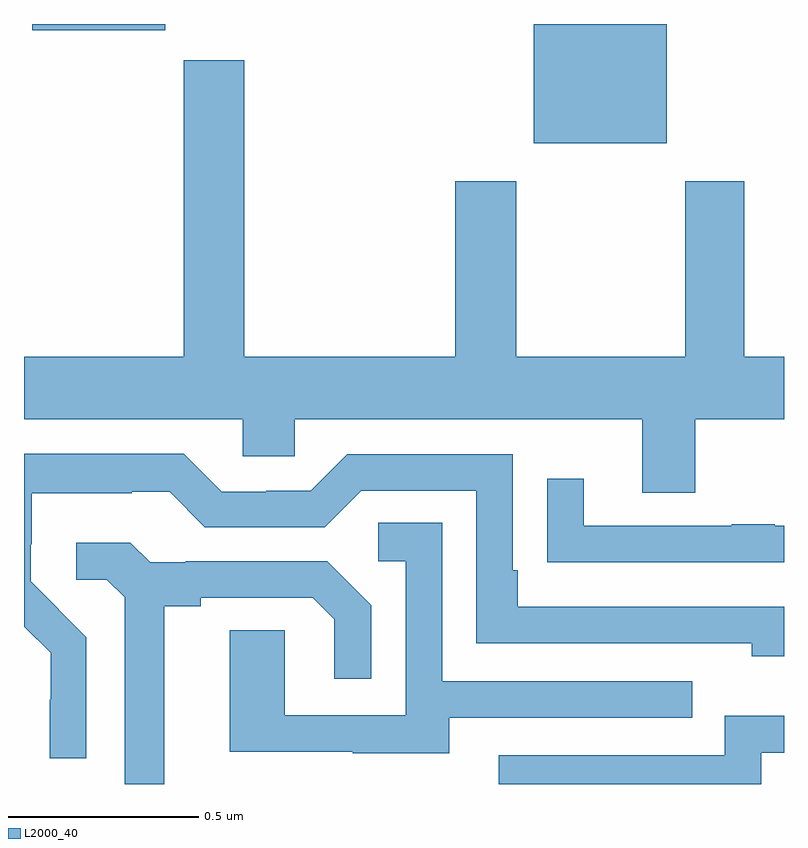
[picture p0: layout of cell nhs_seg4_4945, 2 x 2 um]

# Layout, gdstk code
import gdstk
lib = gdstk.Library(unit=1e-6, precision=1e-09)
def R(c, l, rs):  # rectangles x0, y0, x1, y1
    for r in rs: c.add(gdstk.rectangle(r[:2], r[2:], *l))
def P(c, l, *ps):  # polygons
    for p in ps: c.add(gdstk.Polygon(p, *l))
L2000_40 = (2000, 40)

nhs_seg4_4945 = lib.new_cell('nhs_seg4_4945')
R(nhs_seg4_4945, L2000_40, [(173.342,757.586,173.692,757.9), (172.022,757.883,172.372,757.9)])
P(nhs_seg4_4945, L2000_40, [(173.767,756.86),(174,756.86),(174,757.024),(173.895,757.024),(173.895,757.486),(173.74,757.486),(173.74,757.024),(173.295,757.024),(173.295,757.486),(173.135,757.486),(173.135,757.024),(172.58,757.024),(172.58,757.804),(172.42,757.804),(172.42,757.024),(172,757.024),(172,756.86),(172.575,756.86),(172.575,756.762),(172.713,756.762),(172.713,756.86),(173.627,756.86),(173.627,756.666),(173.767,756.666)],
  [(172.164,756.286),(172.091,756.359),(172.092,756.36),(172.018,756.434),(172.018,756.531),(172.02,756.531),(172.02,756.665),(172.283,756.665),(172.283,756.669),(172.383,756.669),(172.476,756.576),(172.791,756.576),(172.887,756.672),(173.19,756.672),(173.19,756.27),(173.915,756.27),(173.915,756.236),(174,756.236),(174,756.366),(173.299,756.366),(173.299,756.463),(173.286,756.463),(173.286,756.768),(172.851,756.768),(172.755,756.672),(172.637,756.672),(172.637,756.669),(172.521,756.669),(172.421,756.769),(172,756.769),(172,756.314),(172.07,756.245),(172.07,756.122),(172.068,756.122),(172.068,755.968),(172.164,755.968)],
  [(174,756.579),(173.975,756.579),(173.975,756.584),(173.863,756.584),(173.863,756.579),(173.473,756.579),(173.473,756.703),(173.377,756.703),(173.377,756.484),(173.479,756.484),(173.479,756.483),(174,756.483)],
  [(173.119,756.075),(173.759,756.075),(173.759,756.171),(173.1,756.171),(173.1,756.587),(172.932,756.587),(172.932,756.486),(173.004,756.486),(173.004,756.081),(172.686,756.081),(172.686,756.305),(172.541,756.305),(172.541,755.985),(172.865,755.985),(172.865,755.981),(173.119,755.981)],
  [(172.369,756.368),(172.465,756.368),(172.465,756.39),(172.76,756.39),(172.817,756.333),(172.817,756.177),(172.914,756.177),(172.914,756.37),(172.798,756.486),(172.426,756.486),(172.426,756.483),(172.332,756.483),(172.28,756.535),(172.137,756.535),(172.137,756.438),(172.218,756.438),(172.265,756.391),(172.265,755.9),(172.369,755.9)],
  [(173.94,755.982),(174,755.982),(174,756.079),(173.844,756.079),(173.844,755.976),(173.249,755.976),(173.249,755.9),(173.94,755.9)])

lib.write_gds('nhs_seg4_4945.gds')
